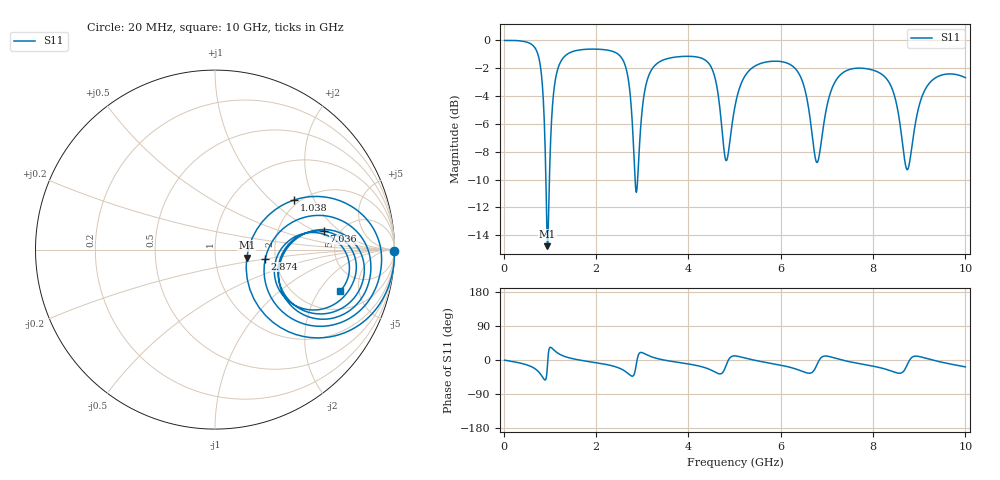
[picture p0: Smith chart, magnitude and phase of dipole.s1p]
! 1-Port simulation of a dipole, length 150 mm, wire diameter 1 mm, copper, gap 1 mm
[Version] 2.0
# GHz S MA
[Number of Ports] 1
[Reference] 50.0
!freq magS11 angS11
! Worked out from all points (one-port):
!   1003 points, 20 MHz to 10 GHz, reference 50 ohm
!   lowest |S11| = -14.8 dB at 948.1 MHz (marker M1), VSWR 1.45, Z = 71.1 - j6.53 ohm
!   |S11| at or under -10 dB: 914.1 MHz to 990.3 MHz (76.16 MHz wide, 8 % of centre); 2.846 GHz to 2.901 GHz (54.77 MHz wide, 1.91 % of centre)
!   S11 on the Smith chart (normalised r, x): 20 MHz: open; 1.038 GHz: 1.88, +1.42; 2.874 GHz: 1.77, -0.19; 7.036 GHz: 3.76, +1.24; 10 GHz: 3.20, -3.19
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[Number of Frequencies] 28
[Network Data]
0.02  1 -0.4
0.58886  0.9721 -17.0
0.80842  0.7787 -39.1
0.87828  0.5173 -51.5
0.94814  0.1823 -14.1
1.03796  0.521 32.1
1.2675  0.8564 11.9
2.515  0.8817 -22.0
2.73456  0.6518 -39.6
2.87428  0.2847 -10.2
2.99404  0.5518 19.6
3.19364  0.78 8.8
3.7625  0.8732 -5.9
4.32138  0.8585 -18.8
4.60082  0.7051 -33.3
4.8104  0.3714 -16.3
5.01  0.5808 10.9
5.47906  0.8155 -1.8
6.2575  0.8086 -21.1
6.54692  0.6421 -33.4
6.73654  0.3885 -24.4
7.03594  0.6149 9.6
7.505  0.788 -4.9
8.44312  0.6497 -31.2
8.7525  0.3446 -9.3
8.94212  0.5307 10.2
9.2515  0.7116 0.9
10  0.7351 -18.2
[End]
